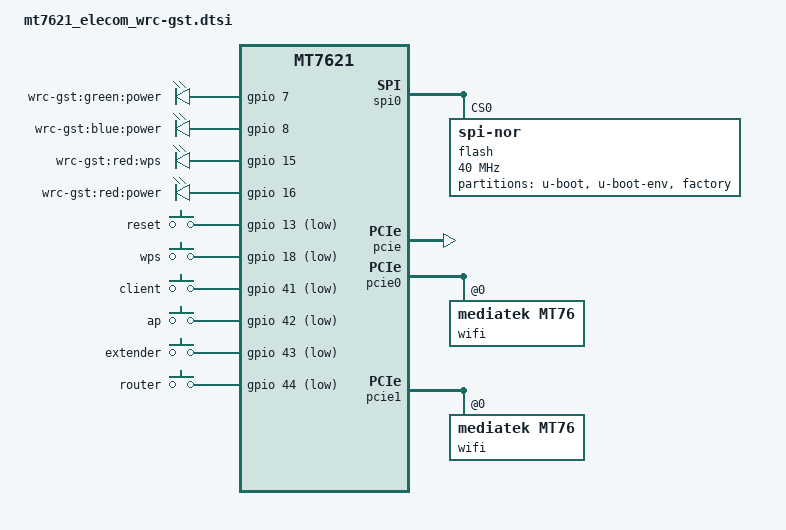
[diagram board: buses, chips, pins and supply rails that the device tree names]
// SPDX-License-Identifier: GPL-2.0

#include "mt7621.dtsi"

#include <dt-bindings/gpio/gpio.h>
#include <dt-bindings/input/input.h>

/ {
	aliases {
		led-boot = &led_power_green;
		led-failsafe = &led_power_green;
		led-running = &led_power_green;
		led-upgrade = &led_power_green;
		label-mac-device = &wan;
	};

	chosen {
		bootargs = "console=ttyS0,57600";
	};

	leds {
		compatible = "gpio-leds";

		led_power_green: power_green {
			label = "wrc-gst:green:power";
			gpios = <&gpio 7 GPIO_ACTIVE_HIGH>;
		};

		power_blue {
			label = "wrc-gst:blue:power";
			gpios = <&gpio 8 GPIO_ACTIVE_HIGH>;
		};

		wps {
			label = "wrc-gst:red:wps";
			gpios = <&gpio 15 GPIO_ACTIVE_HIGH>;
		};

		power_red {
			label = "wrc-gst:red:power";
			gpios = <&gpio 16 GPIO_ACTIVE_HIGH>;
		};
	};

	keys {
		compatible = "gpio-keys";

		reset {
			label = "reset";
			gpios = <&gpio 13 GPIO_ACTIVE_LOW>;
			linux,code = <KEY_RESTART>;
		};

		wps {
			label = "wps";
			gpios = <&gpio 18 GPIO_ACTIVE_LOW>;
			linux,code = <KEY_WPS_BUTTON>;
		};

		client {
			label = "client";
			gpios = <&gpio 41 GPIO_ACTIVE_LOW>;
			linux,code = <BTN_0>;
			linux,input-type = <EV_SW>;
		};

		ap {
			label = "ap";
			gpios = <&gpio 42 GPIO_ACTIVE_LOW>;
			linux,code = <BTN_0>;
			linux,input-type = <EV_SW>;
		};

		extender {
			label = "extender";
			gpios = <&gpio 43 GPIO_ACTIVE_LOW>;
			linux,code = <BTN_0>;
			linux,input-type = <EV_SW>;
		};

		router {
			label = "router";
			gpios = <&gpio 44 GPIO_ACTIVE_LOW>;
			linux,code = <BTN_0>;
			linux,input-type = <EV_SW>;
		};
	};
};

&gmac0 {
	mtd-mac-address = <&factory 0xe000>;
};

&switch0 {
	ports {
		wan: port@0 {
			status = "okay";
			label = "wan";
			mtd-mac-address = <&factory 0xe006>;
		};

		port@1 {
			status = "okay";
			label = "lan4";
		};

		port@2 {
			status = "okay";
			label = "lan3";
		};

		port@3 {
			status = "okay";
			label = "lan2";
		};

		port@4 {
			status = "okay";
			label = "lan1";
		};
	};
};

&spi0 {
	status = "okay";

	flash@0 {
		compatible = "jedec,spi-nor";
		reg = <0>;
		spi-max-frequency = <40000000>;

		partitions: partitions {
			compatible = "fixed-partitions";
			#address-cells = <1>;
			#size-cells = <1>;

			partition@0 {
				label = "u-boot";
				reg = <0x0 0x30000>;
				read-only;
			};

			partition@30000 {
				label = "u-boot-env";
				reg = <0x30000 0x10000>;
				read-only;
			};

			factory: partition@40000 {
				label = "factory";
				reg = <0x40000 0x10000>;
				read-only;
			};
		};
	};
};

&state_default {
	gpio {
		groups = "uart3", "jtag", "wdt", "sdhci";
		function = "gpio";
	};
};

&pcie {
	status = "okay";
};

&pcie0 {
	wifi@0,0 {
		compatible = "mediatek,mt76";
		reg = <0x0000 0 0 0 0>;
		mediatek,mtd-eeprom = <&factory 0x0000>;
		ieee80211-freq-limit = <2400000 2500000>;

		led {
			led-sources = <0>;
			led-active-low;
		};
	};
};

&pcie1 {
	wifi@0,0 {
		compatible = "mediatek,mt76";
		reg = <0x0000 0 0 0 0>;
		mediatek,mtd-eeprom = <&factory 0x8000>;
		ieee80211-freq-limit = <5000000 6000000>;

		led {
			led-sources = <0>;
			led-active-low;
		};
	};
};

&xhci {
	status = "disabled";
};
